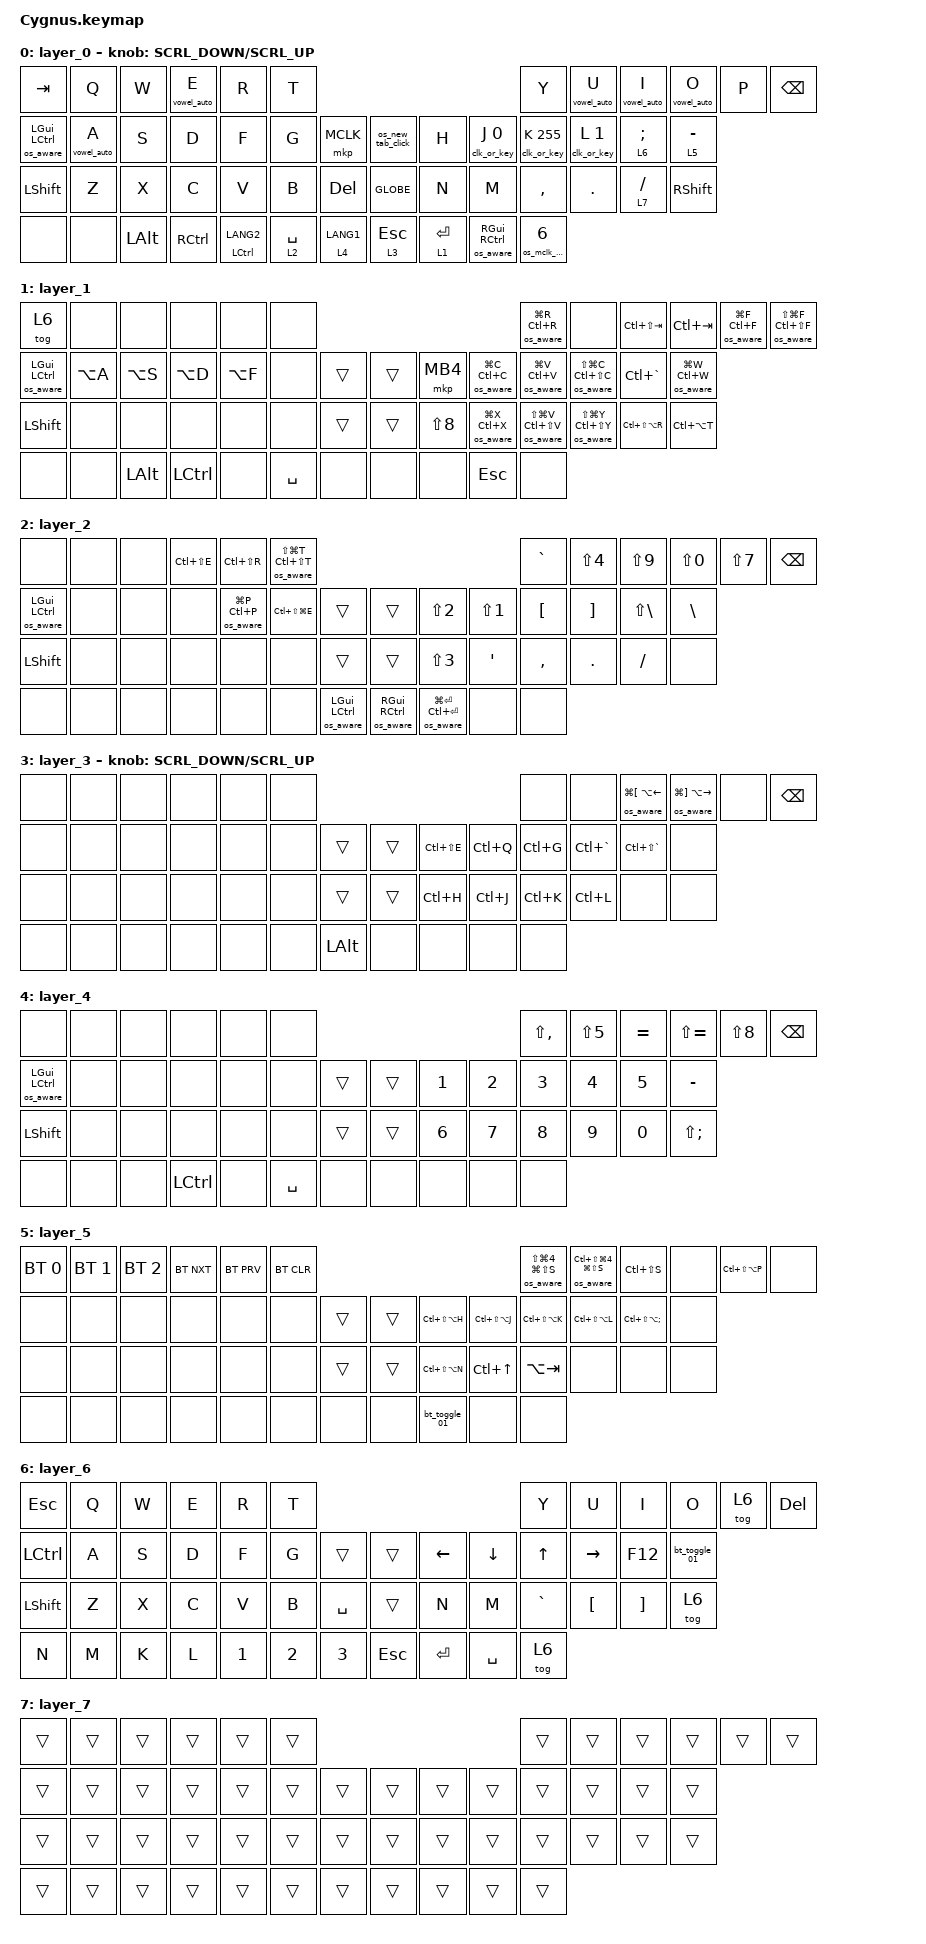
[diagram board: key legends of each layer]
#define ZMK_POINTING_DEFAULT_SCRL_VAL 120

#include <behaviors.dtsi>
#include <dt-bindings/zmk/bt.h>
#include <dt-bindings/zmk/keys.h>
#include <dt-bindings/zmk/pointing.h>

&mt {
    flavor = "balanced";
    quick-tap-ms = <0>;
};

/ {
    combos {
        compatible = "zmk,combos";

        double_quotation {
            bindings = <&kp DOUBLE_QUOTES>;
            key-positions = <22 23>;
        };
    };

    macros {
        to_layer_0: to_layer_0 {
            compatible = "zmk,behavior-macro-one-param";
            #binding-cells = <1>;
            bindings = <&to 0 &macro_param_1to1 &kp MACRO_PLACEHOLDER>;
            label = "TO_LAYER_0";
        };

    };

    behaviors {
        clk_or_key: clk_or_key {
            compatible = "zmk,behavior-clk-or-key";
            #binding-cells = <2>;
        };

        bt_toggle_01: bt_toggle_01 {
            compatible = "zmk,behavior-bt-toggle-01";
            #binding-cells = <0>;
        };

        vowel_auto: vowel_auto {
            compatible = "zmk,behavior-vowel-auto";
            #binding-cells = <1>;
        };

        os_aware: os_aware {
            compatible = "zmk,behavior-os-aware";
            #binding-cells = <2>;
        };

        os_new_tab_click: os_new_tab_click {
            compatible = "zmk,behavior-os-new-tab-click";
            #binding-cells = <0>;
        };

        os_mclk_or_tog: os_mclk_or_tog {
            compatible = "zmk,behavior-os-aware-mclk-or-tog";
            #binding-cells = <1>;
        };

        lt_to_layer_0: lt_to_layer_0 {
            compatible = "zmk,behavior-hold-tap";
            label = "LAYER_TAP_TO_0";
            bindings = <&mo>, <&to_layer_0>;

            #binding-cells = <2>;
            tapping-term-ms = <200>;
        };

        ROTATE: ROTATE {
            compatible = "zmk,behavior-sensor-rotate-var";
            label = "ROTATE";
            #sensor-binding-cells = <2>;
            bindings = <&msc>, <&msc>;

            tap-ms = <20>;
        };
    };

    typing_mode_exit: typing_mode_exit {
        compatible = "zmk,input-processor-typing-mode-exit";
        #input-processor-cells = <0>;
    };

    scroll_mode: scroll_mode {
        compatible = "zmk,input-processor-scroll-mode";
        #input-processor-cells = <0>;
    };

    keymap {
        compatible = "zmk,keymap";

        layer_0 {
            bindings = <
&kp TAB    &kp Q      &kp W      &vowel_auto E &kp R      &kp T                                                &kp Y      &vowel_auto U      &vowel_auto I      &vowel_auto O      &kp P              &kp BSPC
&os_aware LGUI LCTRL &vowel_auto A &kp S &kp D    &kp F      &kp G      &mkp MCLK        &os_new_tab_click          &kp H      &clk_or_key J 0    &clk_or_key K 255  &clk_or_key L 1    &lt 6 SEMI         &lt 5 MINUS
&kp LSHFT  &kp Z      &kp X      &kp C      &kp V      &kp B      &kp DELETE       &kp GLOBE                  &kp N      &kp M              &kp COMMA          &kp DOT            &lt 7 FSLH         &kp RSHFT
&none      &none      &kp LALT   &kp RCTRL  &mt LCTRL LANG2  &lt 2 SPACE  &lt 4 LANG1     &lt 3 ESC  &lt 1 RET                        &os_aware RGUI RCTRL &os_mclk_or_tog 6
            >;

            sensor-bindings = <&ROTATE SCRL_DOWN SCRL_UP>;
        };

        layer_1 {
            bindings = <
&tog 6     &none      &none      &none      &none      &none                                                   &os_aware LG(R) LC(R)  &none      &kp LC(LS(TAB))  &kp LC(TAB)  &os_aware LG(F) LC(F)  &os_aware LS(LG(F)) LC(LS(F))
&os_aware LGUI LCTRL &kp LA(A) &kp LA(S) &kp LA(D) &kp LA(F) &none &trans  &trans                            &mkp MB4   &os_aware LG(C) LC(C)  &os_aware LG(V) LC(V)  &os_aware LS(LG(C)) LC(LS(C))  &kp LC(GRAVE)  &os_aware LG(W) LC(W)
&kp LSHFT  &none      &none      &none      &none      &none    &trans    &trans                            &kp LS(N8) &os_aware LG(X) LC(X)  &os_aware LS(LG(V)) LC(LS(V))  &os_aware LS(LG(Y)) LC(LS(Y))  &kp LC(LS(LA(R)))  &kp LC(LA(T))
&none      &none      &kp LALT   &kp LCTRL  &none      &kp SPACE  &none          &none      &none                              &kp ESC            &none
            >;
        };

        layer_2 {
            bindings = <
&none      &none      &none      &kp LC(LS(E)) &kp LC(LS(R)) &os_aware LS(LG(T)) LC(LS(T))                      &kp GRAVE  &kp LS(N4)         &kp LS(N9)         &kp LS(N0)         &kp LS(N7)         &kp BSPC
&os_aware LGUI LCTRL &none &none &none      &os_aware LG(P) LC(P) &kp LC(LS(LG(E)))  &trans    &trans         &kp LS(N2) &kp LS(N1)         &kp LBKT           &kp RBKT           &kp LS(BSLH)       &kp BSLH
&kp LSHFT  &none      &none      &none      &none      &none              &trans    &trans                    &kp LS(N3) &kp SQT            &kp COMMA          &kp DOT            &kp FSLH           &none
&none      &none      &none      &none      &none      &none      &os_aware LGUI LCTRL &os_aware RGUI RCTRL &os_aware LG(RET) LC(RET)        &none              &none
            >;
        };

        layer_3 {
            bindings = <
&none      &none      &none      &none      &none      &none                                                   &none      &none              &os_aware LG(LBKT) LA(LEFT) &os_aware LG(RBKT) LA(RIGHT) &none           &kp BSPC
&none      &none      &none      &none      &none      &none      &trans    &trans                            &kp LC(LS(E)) &kp LC(Q)       &kp LC(G)          &kp LC(GRAVE)      &kp LC(LS(GRAVE))  &none
&none      &none      &none      &none      &none      &none      &trans    &trans                            &kp LC(H)  &kp LC(J)          &kp LC(K)          &kp LC(L)          &none              &none
&none      &none      &none      &none      &none      &none      &kp LALT       &none      &none                              &none              &none
            >;

            sensor-bindings = <&ROTATE SCRL_DOWN SCRL_UP>;
        };

        layer_4 {
            bindings = <
&none      &none      &none      &none      &none      &none                                                   &kp LS(COMMA) &kp LS(N5)      &kp EQUAL          &kp LS(EQUAL)      &kp LS(N8)         &kp BSPC
&os_aware LGUI LCTRL &none &none &none      &none      &none      &trans    &trans                            &kp N1     &kp N2             &kp N3             &kp N4             &kp N5             &kp MINUS
&kp LSHFT  &none      &none      &none      &none      &none      &trans    &trans                            &kp N6     &kp N7             &kp N8             &kp N9             &kp N0             &kp LS(SEMI)
&none      &none      &none      &kp LCTRL  &none      &kp SPACE  &none          &none      &none                              &none              &none
            >;
        };

        layer_5 {
            bindings = <
&bt BT_SEL 0 &bt BT_SEL 1 &bt BT_SEL 2 &bt BT_NXT &bt BT_PRV &bt BT_CLR                                          &os_aware LS(LG(N4)) LG(LS(S)) &os_aware LC(LS(LG(N4))) LG(LS(S)) &kp LC(LS(S))   &none             &kp LC(LS(LA(P)))  &none
&none      &none      &none      &none      &none      &none      &trans    &trans                            &kp LC(LS(LA(H)))  &kp LC(LS(LA(J)))  &kp LC(LS(LA(K))) &kp LC(LS(LA(L))) &kp LC(LS(LA(SEMI))) &none
&none      &none      &none      &none      &none      &none      &trans    &trans                            &kp LC(LS(LA(N)))  &kp LC(UP)         &kp LA(TAB)    &none             &none              &none
&none      &none      &none      &none      &none      &none      &none          &none      &bt_toggle_01                     &none              &none
            >;
        };

        layer_6 {
            bindings = <
&kp ESC    &kp Q      &kp W      &kp E      &kp R      &kp T                                                   &kp Y      &kp U              &kp I              &kp O              &tog 6             &kp DEL
&kp LCTRL  &kp A      &kp S      &kp D      &kp F      &kp G      &trans    &trans                            &kp LEFT   &kp DOWN           &kp UP             &kp RIGHT          &kp F12            &bt_toggle_01
&kp LSHFT  &kp Z      &kp X      &kp C      &kp V      &kp B      &kp SPACE &trans                            &kp N      &kp M              &kp GRAVE          &kp LBKT           &kp RBKT           &tog 6
&kp N      &kp M      &kp K      &kp L      &kp N1     &kp N2     &kp N3         &kp ESC    &kp RET                          &kp SPACE          &tog 6
            >;
        };

        layer_7 {
            bindings = <
&trans     &trans     &trans     &trans     &trans     &trans                                                  &trans     &trans             &trans             &trans             &trans             &trans
&trans     &trans     &trans     &trans     &trans     &trans     &trans    &trans                            &trans     &trans             &trans             &trans             &trans             &trans
&trans     &trans     &trans     &trans     &trans     &trans     &trans    &trans                            &trans     &trans             &trans             &trans             &trans             &trans
&trans     &trans     &trans     &trans     &trans     &trans     &trans         &trans     &trans                             &trans             &trans
            >;
        };
    };
};
